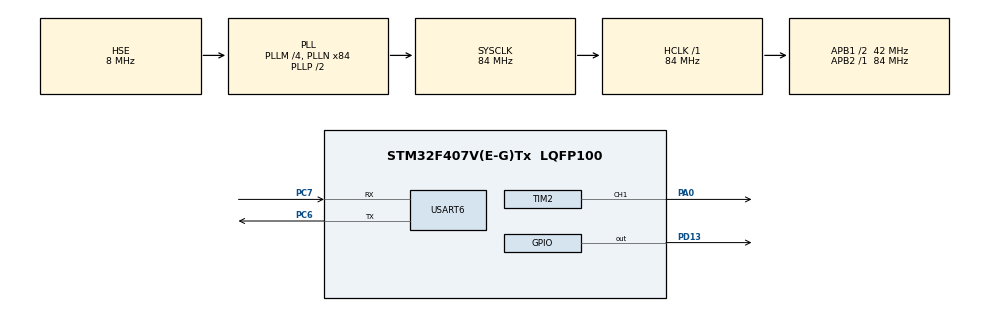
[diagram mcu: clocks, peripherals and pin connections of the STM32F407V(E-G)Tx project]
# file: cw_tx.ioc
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Mcu.Family=STM32F4
Mcu.Name=STM32F407V(E-G)Tx
Mcu.Package=LQFP100
NVIC.PriorityGroup=NVIC_PRIORITYGROUP_4
PA0-WKUP.Signal=S_TIM2_CH1_ETR
PA13.Mode=Serial_Wire
PA13.Signal=SYS_JTMS-SWDIO
PA14.Mode=Serial_Wire
PA14.Signal=SYS_JTCK-SWCLK
PC6.Mode=Asynchronous
PC6.Signal=USART6_TX
PC7.Mode=Asynchronous
PC7.Signal=USART6_RX
PD13.Signal=GPIO_Output
PH0-OSC_IN.Mode=HSE-External-Oscillator
PH0-OSC_IN.Signal=RCC_OSC_IN
PH1-OSC_OUT.Mode=HSE-External-Oscillator
PH1-OSC_OUT.Signal=RCC_OSC_OUT
ProjectManager.HeapSize=0x500
ProjectManager.StackSize=0x1000
ProjectManager.TargetToolchain=MDK-ARM V5
RCC.48MHZClocksFreq_Value=42000000
RCC.AHBFreq_Value=84000000
RCC.APB1CLKDivider=RCC_HCLK_DIV2
RCC.APB1Freq_Value=42000000
RCC.APB1TimFreq_Value=84000000
RCC.APB2Freq_Value=84000000
RCC.APB2TimFreq_Value=84000000
RCC.CortexFreq_Value=84000000
RCC.HCLKFreq_Value=84000000
RCC.HSE_VALUE=8000000
RCC.HSI_VALUE=16000000
RCC.LSE_VALUE=32768
RCC.PLLM=4
RCC.PLLN=84
RCC.PLLSourceVirtual=RCC_PLLSOURCE_HSE
RCC.SYSCLKFreq_VALUE=84000000
RCC.SYSCLKSource=RCC_SYSCLKSOURCE_PLLCLK
RCC.VCOOutputFreq_Value=168000000
SH.S_TIM2_CH1_ETR.0=TIM2_CH1,Output Compare1 CH1
TIM2.OCMode_1=TIM_OCMODE_TOGGLE
TIM2.Period=5
VP_TIM2_VS_ClockSourceINT.Mode=Internal
board=cw_tx

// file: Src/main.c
/**
  ******************************************************************************
  * File Name          : main.c
  * Description        : Main program body
  ******************************************************************************
  *
  * COPYRIGHT(c) 2017 STMicroelectronics
  *
  * Redistribution and use in source and binary forms, with or without modification,
  * are permitted provided that the following conditions are met:
  *   1. Redistributions of source code must retain the above copyright notice,
  *      this list of conditions and the following disclaimer.
  *   2. Redistributions in binary form must reproduce the above copyright notice,
  *      this list of conditions and the following disclaimer in the documentation
  *      and/or other materials provided with the distribution.
  *   3. Neither the name of STMicroelectronics nor the names of its contributors
  *      may be used to endorse or promote products derived from this software
  *      without specific prior written permission.
  *
  * THIS SOFTWARE IS PROVIDED BY THE COPYRIGHT HOLDERS AND CONTRIBUTORS "AS IS"
  * AND ANY EXPRESS OR IMPLIED WARRANTIES, INCLUDING, BUT NOT LIMITED TO, THE
  * IMPLIED WARRANTIES OF MERCHANTABILITY AND FITNESS FOR A PARTICULAR PURPOSE ARE
  * DISCLAIMED. IN NO EVENT SHALL THE COPYRIGHT HOLDER OR CONTRIBUTORS BE LIABLE
  * FOR ANY DIRECT, INDIRECT, INCIDENTAL, SPECIAL, EXEMPLARY, OR CONSEQUENTIAL
  * DAMAGES (INCLUDING, BUT NOT LIMITED TO, PROCUREMENT OF SUBSTITUTE GOODS OR
  * SERVICES; LOSS OF USE, DATA, OR PROFITS; OR BUSINESS INTERRUPTION) HOWEVER
  * CAUSED AND ON ANY THEORY OF LIABILITY, WHETHER IN CONTRACT, STRICT LIABILITY,
  * OR TORT (INCLUDING NEGLIGENCE OR OTHERWISE) ARISING IN ANY WAY OUT OF THE USE
  * OF THIS SOFTWARE, EVEN IF ADVISED OF THE POSSIBILITY OF SUCH DAMAGE.
  *
  ******************************************************************************
  */
#include "main.h"
#include "stm32f4xx_hal.h"

/* USER CODE BEGIN Includes */

#include "libcw.h"
#include <string.h>

/* USER CODE END Includes */

TIM_HandleTypeDef htim2;

UART_HandleTypeDef huart6;

/* USER CODE BEGIN PV */
/* Private variables ---------------------------------------------------------*/

unsigned char CWBuff[255];
unsigned char MsgBuff[255];
int UARTBuffCnt=0;

/* USER CODE END PV */

void SystemClock_Config(void);
void Error_Handler(void);
static void MX_GPIO_Init(void);
static void MX_TIM2_Init(void);
static void MX_USART6_UART_Init(void);
void HAL_TIM_MspPostInit(TIM_HandleTypeDef *htim);

/* USER CODE BEGIN PFP */
/* Private function prototypes -----------------------------------------------*/

/* USER CODE END PFP */

int main(void)
{

  /* USER CODE BEGIN 1 */

	memset(CWBuff,0,sizeof(CWBuff));

  /* USER CODE END 1 */

  /* MCU Configuration----------------------------------------------------------*/

  /* Reset of all peripherals, Initializes the Flash interface and the Systick. */
  HAL_Init();

  /* Configure the system clock */
  SystemClock_Config();

  /* Initialize all configured peripherals */
  MX_GPIO_Init();
  MX_TIM2_Init();
  MX_USART6_UART_Init();

  /* USER CODE BEGIN 2 */
	memset(CWBuff,0,sizeof(CWBuff));
	HAL_TIM_OC_Stop(&htim2,TIM_CHANNEL_1);

	sprintf((char *)MsgBuff,"R2AIV CW Terminal 1.0 (c) Denis S. Sovkov\r\n"
													 "Built: %s %s www.vk.com/r2aiv\r\n"
	                         "UART6 115200 8N1\r\n"
													 "Enter string to send!\r\n",__DATE__,__TIME__);
	HAL_UART_Transmit(&huart6,MsgBuff,strlen((char *)MsgBuff),100);

  /* USER CODE END 2 */

  /* Infinite loop */
  /* USER CODE BEGIN WHILE */
  while (1)
  {

		unsigned char c=0;
		unsigned char cnt=0;
		//

		sprintf((char *)MsgBuff,"-> ");
		HAL_UART_Transmit(&huart6,MsgBuff,strlen((char *)MsgBuff),100);

		memset(CWBuff,0,sizeof(CWBuff));

			while (c!=0x0D)
			{
				while(HAL_UART_Receive(&huart6,&c,1,1)!=HAL_OK);
				HAL_UART_Transmit(&huart6,&c,1,100);
				CWBuff[cnt]=c;
			  cnt++;
			}
			if(c==0x0D)
			{
				strcpy((char *)MsgBuff,"\r\nTX...");
				HAL_UART_Transmit(&huart6,MsgBuff,strlen((char *)MsgBuff),100);
		    SendString((char *)CWBuff);
				strcpy((char *)MsgBuff,"OK!\r\n");
				HAL_UART_Transmit(&huart6,MsgBuff,strlen((char *)MsgBuff),100);

				c=0;
				memset(CWBuff,0,sizeof(CWBuff));
			}

		//HAL_UART_Receive(&huart6,UARTBuff,100,5000);
		//strcat((char *)UARTBuff,"\r\n ->");
		//HAL_UART_Transmit(&huart6,UARTBuff,strlen((char *)UARTBuff),100);
		//SendString((char *)UARTBuff);
		//HAL_Delay(1000);

  /* USER CODE END WHILE */

  }

}

/** System Clock Configuration
*/
void SystemClock_Config(void)
{

  RCC_OscInitTypeDef RCC_OscInitStruct;
  RCC_ClkInitTypeDef RCC_ClkInitStruct;

    /**Configure the main internal regulator output voltage
    */
  __HAL_RCC_PWR_CLK_ENABLE();

  __HAL_PWR_VOLTAGESCALING_CONFIG(PWR_REGULATOR_VOLTAGE_SCALE1);

    /**Initializes the CPU, AHB and APB busses clocks
    */
  RCC_OscInitStruct.OscillatorType = RCC_OSCILLATORTYPE_HSE;
  RCC_OscInitStruct.HSEState = RCC_HSE_ON;
  RCC_OscInitStruct.PLL.PLLState = RCC_PLL_ON;
  RCC_OscInitStruct.PLL.PLLSource = RCC_PLLSOURCE_HSE;
  RCC_OscInitStruct.PLL.PLLM = 4;
  RCC_OscInitStruct.PLL.PLLN = 84;
  RCC_OscInitStruct.PLL.PLLP = RCC_PLLP_DIV2;
  RCC_OscInitStruct.PLL.PLLQ = 4;
  if (HAL_RCC_OscConfig(&RCC_OscInitStruct) != HAL_OK)
  {
    Error_Handler();
  }

    /**Initializes the CPU, AHB and APB busses clocks
    */
  RCC_ClkInitStruct.ClockType = RCC_CLOCKTYPE_HCLK|RCC_CLOCKTYPE_SYSCLK
                              |RCC_CLOCKTYPE_PCLK1|RCC_CLOCKTYPE_PCLK2;
  RCC_ClkInitStruct.SYSCLKSource = RCC_SYSCLKSOURCE_PLLCLK;
  RCC_ClkInitStruct.AHBCLKDivider = RCC_SYSCLK_DIV1;
  RCC_ClkInitStruct.APB1CLKDivider = RCC_HCLK_DIV2;
  RCC_ClkInitStruct.APB2CLKDivider = RCC_HCLK_DIV1;

  if (HAL_RCC_ClockConfig(&RCC_ClkInitStruct, FLASH_LATENCY_2) != HAL_OK)
  {
    Error_Handler();
  }

    /**Configure the Systick interrupt time
    */
  HAL_SYSTICK_Config(HAL_RCC_GetHCLKFreq()/1000);

    /**Configure the Systick
    */
  HAL_SYSTICK_CLKSourceConfig(SYSTICK_CLKSOURCE_HCLK);

  /* SysTick_IRQn interrupt configuration */
  HAL_NVIC_SetPriority(SysTick_IRQn, 0, 0);
}

/* TIM2 init function */
static void MX_TIM2_Init(void)
{

  TIM_ClockConfigTypeDef sClockSourceConfig;
  TIM_MasterConfigTypeDef sMasterConfig;
  TIM_OC_InitTypeDef sConfigOC;

  htim2.Instance = TIM2;
  htim2.Init.Prescaler = 0;
  htim2.Init.CounterMode = TIM_COUNTERMODE_UP;
  htim2.Init.Period = 5;
  htim2.Init.ClockDivision = TIM_CLOCKDIVISION_DIV1;
  if (HAL_TIM_Base_Init(&htim2) != HAL_OK)
  {
    Error_Handler();
  }

  sClockSourceConfig.ClockSource = TIM_CLOCKSOURCE_INTERNAL;
  if (HAL_TIM_ConfigClockSource(&htim2, &sClockSourceConfig) != HAL_OK)
  {
    Error_Handler();
  }

  if (HAL_TIM_OC_Init(&htim2) != HAL_OK)
  {
    Error_Handler();
  }

  sMasterConfig.MasterOutputTrigger = TIM_TRGO_RESET;
  sMasterConfig.MasterSlaveMode = TIM_MASTERSLAVEMODE_DISABLE;
  if (HAL_TIMEx_MasterConfigSynchronization(&htim2, &sMasterConfig) != HAL_OK)
  {
    Error_Handler();
  }

  sConfigOC.OCMode = TIM_OCMODE_TOGGLE;
  sConfigOC.Pulse = 0;
  sConfigOC.OCPolarity = TIM_OCPOLARITY_HIGH;
  sConfigOC.OCFastMode = TIM_OCFAST_DISABLE;
  if (HAL_TIM_OC_ConfigChannel(&htim2, &sConfigOC, TIM_CHANNEL_1) != HAL_OK)
  {
    Error_Handler();
  }

  HAL_TIM_MspPostInit(&htim2);

}

/* USART6 init function */
static void MX_USART6_UART_Init(void)
{

  huart6.Instance = USART6;
  huart6.Init.BaudRate = 115200;
  huart6.Init.WordLength = UART_WORDLENGTH_8B;
  huart6.Init.StopBits = UART_STOPBITS_1;
  huart6.Init.Parity = UART_PARITY_NONE;
  huart6.Init.Mode = UART_MODE_TX_RX;
  huart6.Init.HwFlowCtl = UART_HWCONTROL_NONE;
  huart6.Init.OverSampling = UART_OVERSAMPLING_16;
  if (HAL_UART_Init(&huart6) != HAL_OK)
  {
    Error_Handler();
  }

}

/** Configure pins as
        * Analog
        * Input
        * Output
        * EVENT_OUT
        * EXTI
*/
static void MX_GPIO_Init(void)
{

  GPIO_InitTypeDef GPIO_InitStruct;

  /* GPIO Ports Clock Enable */
  __HAL_RCC_GPIOH_CLK_ENABLE();
  __HAL_RCC_GPIOA_CLK_ENABLE();
  __HAL_RCC_GPIOD_CLK_ENABLE();
  __HAL_RCC_GPIOC_CLK_ENABLE();

  /*Configure GPIO pin Output Level */
  HAL_GPIO_WritePin(GPIOD, GPIO_PIN_13, GPIO_PIN_RESET);

  /*Configure GPIO pin : PD13 */
  GPIO_InitStruct.Pin = GPIO_PIN_13;
  GPIO_InitStruct.Mode = GPIO_MODE_OUTPUT_PP;
  GPIO_InitStruct.Pull = GPIO_NOPULL;
  GPIO_InitStruct.Speed = GPIO_SPEED_FREQ_LOW;
  HAL_GPIO_Init(GPIOD, &GPIO_InitStruct);

}

void Error_Handler(void)
{
  while(1)
  {
  }
}

/************************ (C) COPYRIGHT STMicroelectronics *****END OF FILE****/
